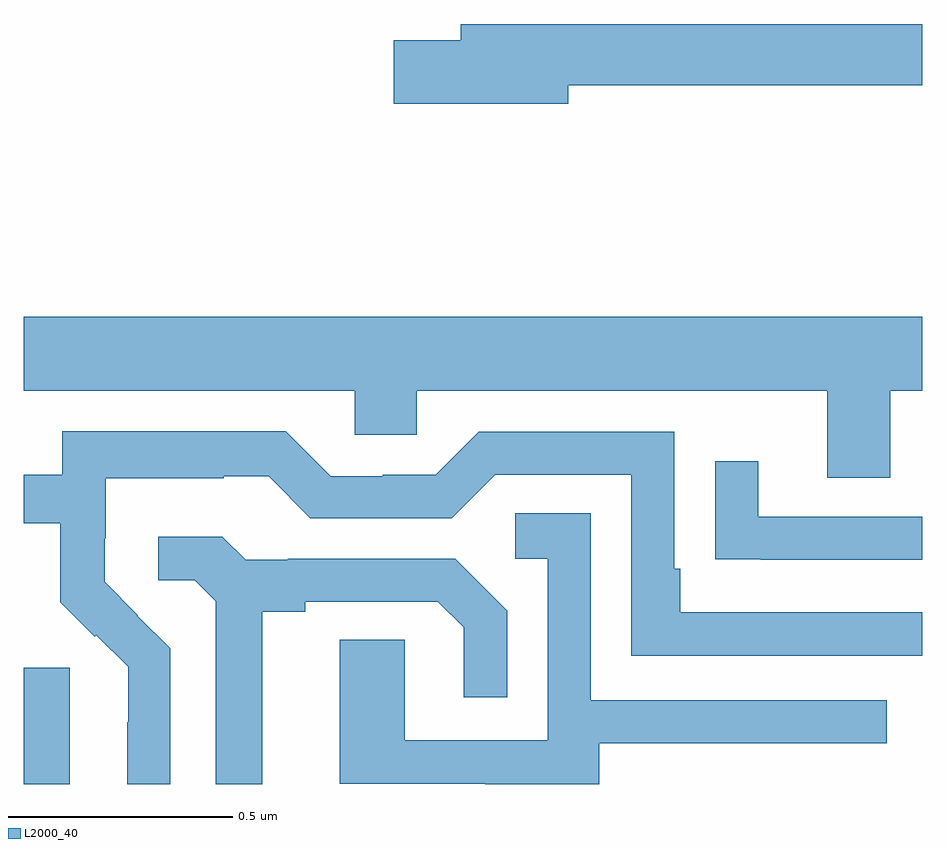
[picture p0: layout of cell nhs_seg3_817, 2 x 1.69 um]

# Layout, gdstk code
import gdstk
lib = gdstk.Library(unit=1e-6, precision=1e-09)
def R(c, l, rs):  # rectangles x0, y0, x1, y1
    for r in rs: c.add(gdstk.rectangle(r[:2], r[2:], *l))
def P(c, l, *ps):  # polygons
    for p in ps: c.add(gdstk.Polygon(p, *l))
L2000_40 = (2000, 40)

nhs_seg3_817 = lib.new_cell('nhs_seg3_817')
R(nhs_seg3_817, L2000_40, [(121,673.4,121.102,673.659)])
P(nhs_seg3_817, L2000_40, [(122.212,674.956),(123,674.956),(123,675.092),(121.973,675.092),(121.973,675.056),(121.824,675.056),(121.824,674.914),(122.212,674.914)],
  [(122.929,674.276),(123,674.276),(123,674.44),(121,674.44),(121,674.276),(121.737,674.276),(121.737,674.178),(121.875,674.178),(121.875,674.276),(122.789,674.276),(122.789,674.082),(122.929,674.082)],
  [(121.326,673.702),(121.253,673.775),(121.254,673.776),(121.18,673.85),(121.18,673.947),(121.182,673.947),(121.182,674.081),(121.445,674.081),(121.445,674.085),(121.545,674.085),(121.638,673.992),(121.953,673.992),(122.049,674.088),(122.352,674.088),(122.352,673.686),(123,673.686),(123,673.782),(122.461,673.782),(122.461,673.879),(122.448,673.879),(122.448,674.184),(122.013,674.184),(121.917,674.088),(121.799,674.088),(121.799,674.085),(121.683,674.085),(121.583,674.185),(121.086,674.185),(121.086,674.088),(121,674.088),(121,673.98),(121.081,673.98),(121.081,673.805),(121.158,673.728),(121.161,673.731),(121.232,673.661),(121.232,673.538),(121.23,673.538),(121.23,673.4),(121.326,673.4)],
  [(123,673.995),(122.635,673.995),(122.635,674.119),(122.539,674.119),(122.539,673.9),(122.641,673.9),(122.641,673.899),(123,673.899)],
  [(122.281,673.491),(122.921,673.491),(122.921,673.587),(122.262,673.587),(122.262,674.003),(122.094,674.003),(122.094,673.902),(122.166,673.902),(122.166,673.497),(121.848,673.497),(121.848,673.721),(121.703,673.721),(121.703,673.401),(122.027,673.401),(122.027,673.4),(122.281,673.4)],
  [(121.531,673.784),(121.627,673.784),(121.627,673.806),(121.922,673.806),(121.979,673.749),(121.979,673.593),(122.076,673.593),(122.076,673.786),(121.96,673.902),(121.588,673.902),(121.588,673.899),(121.494,673.899),(121.442,673.951),(121.299,673.951),(121.299,673.854),(121.38,673.854),(121.427,673.807),(121.427,673.4),(121.531,673.4)])

lib.write_gds('nhs_seg3_817.gds')
